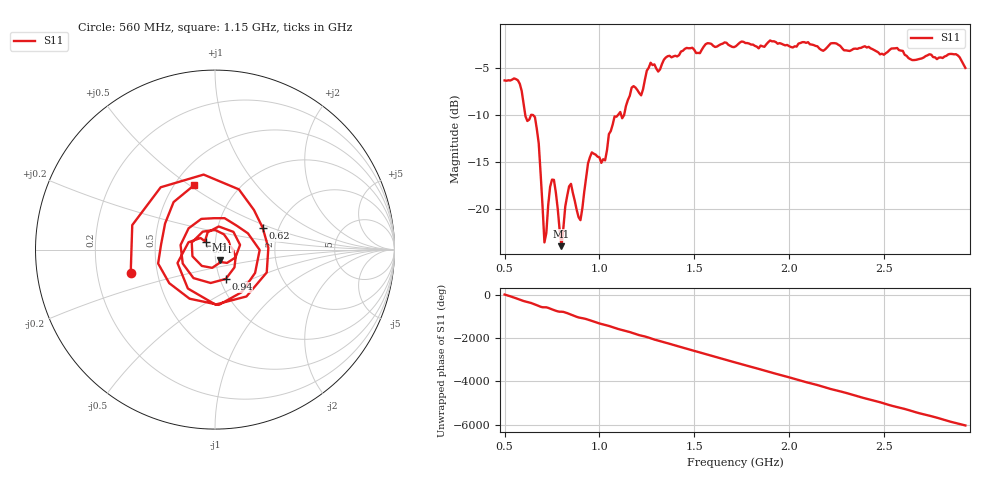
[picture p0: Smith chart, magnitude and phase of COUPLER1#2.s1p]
#  HZ  S  DB  R  50.0
! Rohde & Schwarz ZVL
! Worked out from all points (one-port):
!   244 points, 500 MHz to 2.93 GHz, reference 50 ohm
!   lowest |S11| = -24.0 dB at 800 MHz (marker M1), VSWR 1.13, Z = 52.5 - j6 ohm
!   |S11| at or under -10 dB: 608.6 MHz to 1.1 GHz (491.4 MHz wide, 57.5 % of centre); 1.114 GHz to 1.131 GHz (16.62 MHz wide, 1.48 % of centre)
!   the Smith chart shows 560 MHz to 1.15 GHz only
!   S11 on the Smith chart (normalised r, x): 560 MHz: 0.35, -0.12; 620 MHz: 1.65, +0.44; 710 MHz: 0.90, +0.08; 940 MHz: 1.07, -0.36; 1.15 GHz: 0.62, +0.52
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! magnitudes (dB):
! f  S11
! 500 MHz  -6.4
! 560 MHz  -6.2
! 620 MHz  -10.7
! 650 MHz  -10.0
! 670 MHz  -11.6
! 680 MHz  -13.1
! 710 MHz  -23.6
! 740 MHz  -17.7
! 760 MHz  -16.9
! 800 MHz  -24.0
! 810 MHz  -22.0
! 850 MHz  -17.4
! 900 MHz  -21.2
! 940 MHz  -15.2
! 1.03 GHz  -14.9
! 1.05 GHz  -12.1
! 1.11 GHz  -9.7
! 1.15 GHz  -8.5
! 1.18 GHz  -7.0
! 1.22 GHz  -8.0
! 1.27 GHz  -4.5
! 1.42 GHz  -3.7
! 1.72 GHz  -2.7
! 2.02 GHz  -2.9
! 2.33 GHz  -3.1
! 2.63 GHz  -4.0
! 2.88 GHz  -3.6
! 2.93 GHz  -5.0
